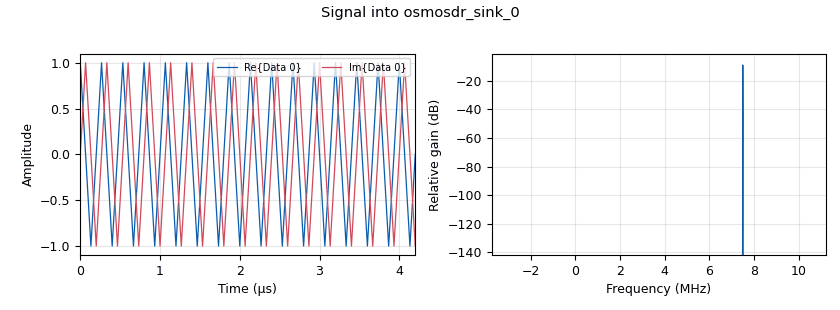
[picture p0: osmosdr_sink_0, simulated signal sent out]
<?xml version='1.0' encoding='utf-8'?>
<?grc format='1' created='3.7.10'?>
<flow_graph>
<block>
<key>options</key>
<param><key>id</key><value>nullsource_to_osmocom_sink</value></param>
<param><key>category</key><value>Custom</value></param>
<param><key>generate_options</key><value>no_gui</value></param>
<param><key>run_options</key><value>run</value></param>
</block>
<block>
<key>variable</key>
<param><key>id</key><value>center_freq</value></param>
<param><key>value</key><value>3.75e6</value></param>
</block>
<block>
<key>variable</key>
<param><key>id</key><value>samp_rate</value></param>
<param><key>value</key><value>15e6</value></param>
</block>
<block>
<key>analog_sig_source_x</key>
<param><key>id</key><value>analog_sig_source_x_0</value></param>
<param><key>amp</key><value>1</value></param>
<param><key>freq</key><value>center_freq</value></param>
<param><key>offset</key><value>0</value></param>
<param><key>type</key><value>complex</value></param>
<param><key>samp_rate</key><value>samp_rate</value></param>
<param><key>waveform</key><value>analog.GR_COS_WAVE</value></param>
</block>
<block>
<key>osmosdr_sink</key>
<param><key>id</key><value>osmosdr_sink_0</value></param>
<param><key>ant0</key><value>BAND1</value></param>
<param><key>bb_gain0</key><value>0</value></param>
<param><key>bw0</key><value>7.5e6</value></param>
<param><key>freq0</key><value>center_freq</value></param>
<param><key>if_gain0</key><value>0</value></param>
<param><key>gain0</key><value>35</value></param>
<param><key>args</key><value>nchan=0,driver=lime, soapy=1</value></param>
<param><key>type</key><value>fc32</value></param>
<param><key>sample_rate</key><value>samp_rate</value></param>
<param><key>sync</key><value></value></param>
</block>
<connection><source_block_id>analog_sig_source_x_0</source_block_id><sink_block_id>osmosdr_sink_0</sink_block_id><source_key>0</source_key><sink_key>0</sink_key></connection>
</flow_graph>
